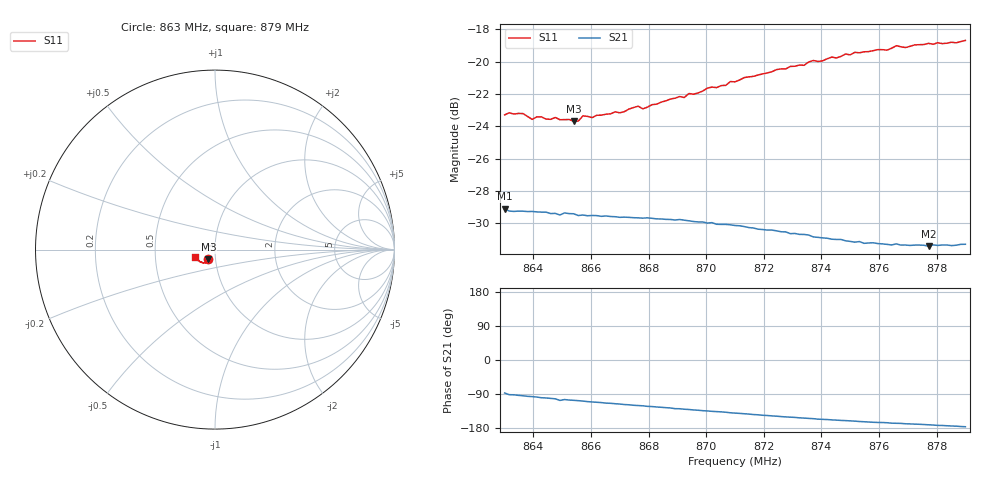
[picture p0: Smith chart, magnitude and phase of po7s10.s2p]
# HZ S RI R 50
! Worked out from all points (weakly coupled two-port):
!   101 points, 863 MHz to 879 MHz, reference 50 ohm
!   highest |S21| = -29.11 dB at 863 MHz (marker M1); lowest = -31.4 dB at 877.72 MHz (marker M2)
!   lowest |S11| = -23.7 dB at 865.4 MHz (marker M3), VSWR 1.14, Z = 46.2 - j5.04 ohm
!   |S11| at or under -10 dB: start of sweep to end of sweep
!   S12 and S22 are empty: the file has one direction only
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8.63e8  -0.0407 -0.055  0.00179 -0.035  0 0  0 0
8.6364e8  -0.0427 -0.0543  -0.00264 -0.0343  0 0  0 0
8.6396e8  -0.0395 -0.0532  -0.00396 -0.0341  0 0  0 0
8.6412e8  -0.0413 -0.0533  -0.00462 -0.0339  0 0  0 0
8.646e8  -0.0382 -0.0541  -0.00664 -0.0332  0 0  0 0
8.6476e8  -0.039 -0.0547  -0.00728 -0.0331  0 0  0 0
8.654e8  -0.0363 -0.0543  -0.00954 -0.0324  0 0  0 0
8.6556e8  -0.0347 -0.0555  -0.00991 -0.0319  0 0  0 0
8.6572e8  -0.036 -0.0576  -0.0106 -0.0318  0 0  0 0
8.6604e8  -0.0348 -0.0574  -0.0118 -0.0312  0 0  0 0
8.67e8  -0.0346 -0.0602  -0.0146 -0.0295  0 0  0 0
8.6764e8  -0.0371 -0.0626  -0.0165 -0.0284  0 0  0 0
8.678e8  -0.0356 -0.0619  -0.0168 -0.0281  0 0  0 0
8.6844e8  -0.0376 -0.0648  -0.0186 -0.0267  0 0  0 0
8.71e8  -0.0482 -0.0719  -0.0239 -0.0199  0 0  0 0
8.7244e8  -0.0584 -0.0743  -0.0254 -0.0157  0 0  0 0
8.734e8  -0.0636 -0.0737  -0.0261 -0.0131  0 0  0 0
8.7372e8  -0.0686 -0.0739  -0.0259 -0.0122  0 0  0 0
8.7644e8  -0.0919 -0.0605  -0.0263 -0.00622  0 0  0 0
8.766e8  -0.0942 -0.0606  -0.0266 -0.00613  0 0  0 0
8.7772e8  -0.1015 -0.0517  -0.0265 -0.0042  0 0  0 0
8.79e8  -0.1096 -0.039  -0.0271 -0.00185  0 0  0 0
